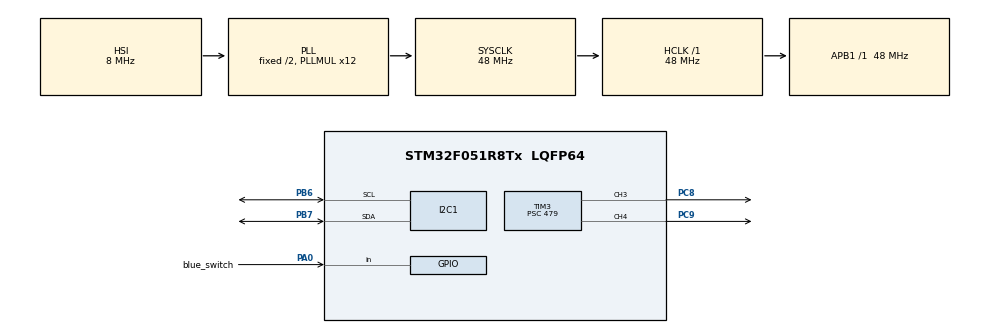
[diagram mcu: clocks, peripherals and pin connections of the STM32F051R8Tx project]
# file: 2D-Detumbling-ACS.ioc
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I2C1.Timing=0x00201D2B
Mcu.Family=STM32F0
Mcu.Name=STM32F051R8Tx
Mcu.Package=LQFP64
NVIC.TIM14_IRQn=true\:0\:0\:false\:false\:true\:true\:true\:true
PA0.GPIO_Label=blue_switch
PA0.GPIO_PuPd=GPIO_PULLUP
PA0.Signal=GPIO_Input
PA13.GPIO_Label=SWDIO
PA13.Mode=Serial_Wire
PA13.Signal=SYS_SWDIO
PA14.GPIO_Label=SWCLK
PA14.Mode=Serial_Wire
PA14.Signal=SYS_SWCLK
PB6.Mode=I2C
PB6.Signal=I2C1_SCL
PB7.Mode=I2C
PB7.Signal=I2C1_SDA
PC8.Signal=S_TIM3_CH3
PC9.Signal=S_TIM3_CH4
ProjectManager.HeapSize=0x200
ProjectManager.StackSize=0x400
ProjectManager.TargetToolchain=STM32CubeIDE
RCC.AHBFreq_Value=48000000
RCC.APB1Freq_Value=48000000
RCC.APB1TimFreq_Value=48000000
RCC.HCLKFreq_Value=48000000
RCC.PLLMUL=RCC_PLL_MUL12
RCC.SYSCLKFreq_VALUE=48000000
RCC.SYSCLKSource=RCC_SYSCLKSOURCE_PLLCLK
SH.S_TIM3_CH3.0=TIM3_CH3,PWM Generation3 CH3
SH.S_TIM3_CH4.0=TIM3_CH4,PWM Generation4 CH4
TIM14.Period=99
TIM14.Prescaler=47999
TIM3.Channel-PWM\ Generation3\ CH3=TIM_CHANNEL_3
TIM3.Channel-PWM\ Generation4\ CH4=TIM_CHANNEL_4
TIM3.Period=100
TIM3.Prescaler=479
TIM3.Pulse-PWM\ Generation3\ CH3=50
TIM3.Pulse-PWM\ Generation4\ CH4=50
VP_TIM14_VS_ClockSourceINT.Mode=Enable_Timer
board=STM32F0DISCOVERY

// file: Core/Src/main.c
/* USER CODE BEGIN Header */
/**
  ******************************************************************************
  * @file           : main.c
  * @brief          : 2D Detumbling ACS Main Program Body
  ******************************************************************************
  * @details
  *
  * This program implements a basic 2D detumbling attitude control system on an
  * STM32F0 microcontroller, designed for satellite applications. It utilises a
  * gyroscope (FXAS21002) and magnetometer (FXOS8700) to measure the angular
  * rate and magnetic field, calculates the required control torque (PWM bright-
  * ness level), and sets PWM outputs for the magnetic actuators.
  *
  * Main functionalities:
  *   - Blue switch start: Waits for user to press and release the blue pushbutton
  *     ("blue switch") before starting the control loop. LED animation
  *     indicates waiting status.
  *   - Sensor initialisation and health check: Verifies sensor connectivity,
  *     signaling errors or success via status LEDs.
  *   - Control loop: Triggered by a timer interrupt at fixed intervals (e.g., 10 Hz).
  *     Each cycle reads sensor data, computes torque, and updates PWM outputs.
  *   - Energy-saving sleep mode: If the angular rate remains below a threshold
  *     for a set period, the MCU enters sleep mode. It wakes up automatically if
  *     the angular rate rises above a defined value.
  *
  * Usage:
  *   1. Power on the system.
  *   2. Press and release the blue button to start the controller.
  *   3. The system will automatically run the detumbling control loop, enter sleep
  *      mode as needed, and wake on new motion.
  *
  ******************************************************************************
  * @attention
  *
  * Copyright (c) 2025 STMicroelectronics.
  * All rights reserved.
  *
  * This software is licensed under terms that can be found in the LICENSE file
  * in the root directory of this software component.
  * If no LICENSE file comes with this software, it is provided AS-IS.
  *
  ******************************************************************************
  */
/* USER CODE END Header */
#include "main.h"

/* USER CODE BEGIN Includes */

#include <math.h>  		// Include math functions (e.g. fabsf())

/* USER CODE END Includes */

/* USER CODE BEGIN PD */
// ============================= USER PDs =====================================

// Control law
#define CTRL_THRESHOLD			0.2f	// [°/s] Deadband to ignore gyro noise
#define GAIN_X					0.25f	// [-] Gain of momentum in x-direction
#define GAIN_Y					0.25f	// [-] Gain of momentum in y-direction

// Sleep functionality
#define SLEEP_THRESHOLD			1.0f	// [°/s] Threshold to enter sleep mode
#define WAKEUP_THRESHOLD		2.0f	// [°/s] Threshold to exit sleep mode
#define IDLE_CYCLES				50		// [-] at 10 Hz control cycle: 5 sec

// Pulse width modulation
#define PWM_NEUTRAL				50		// [%] Neutral brightness (50 %)
#define PWM_SLEEP				1		// [%] Sleep brightness   (1 %)
#define PWM_MAX					100		// [%] Maximum brightness (100 %)
#define	PWM_MIN					0		// [%] Minimum brightness (0 %)

// Soft fail limits
#define GYRO_SFAIL_LIM 			5		// [-] Soft count of fails limit for gyroscope
#define MAGNETOMETER_SFAIL_LIM  5		// [-] Soft count of fails limit for magnetometer

// ============================================================================
/* USER CODE END PD */

I2C_HandleTypeDef hi2c1;

TIM_HandleTypeDef PWM_TIMER;
TIM_HandleTypeDef htim14;

/* USER CODE BEGIN PV */

volatile 	uint8_t 	do_control = 0;		// Timer interrupt flag for control cycle

static 		uint8_t 	isSleeping = 0;		// Sleep flag
static 		uint16_t 	quietCounter = 0;	// If quietCounter value reaches IDLE_CYCLES value enter sleep mode

static float e_int = 0.0f; 					// PI integrator state shared between main() and compute_torque()

/* USER CODE END PV */

void SystemClock_Config(void);
static void MX_GPIO_Init(void);
static void MX_TIM3_Init(void);
static void MX_TIM14_Init(void);
static void MX_I2C1_Init(void);
/* USER CODE BEGIN PFP */

// Check function prototypes
uint8_t check_gyro(void);				// Check who_am_i register. If check (un-)successful, return true (false)
uint8_t check_magnetometer(void);		// Check who_am_i register. If check (un-)successful, return true (false)

// Initialisation
void init_gyro(void);				// Initialisation of control registers of the gyroscope (FXAS21002C)
void init_magnetometer(void);		// Initialisation of control registers of the magnetometer (FXOS8700CQ)

// Read sensor functions
void read_gyro(float* gyro_z);		// Outputs Z-axis sensor values of 3-axis digital angular rate gyroscope (FXAS21002C)
void read_magnetometer(float* mag_x, float* mag_z);		// Outputs X- and Z-axis sensor values of magnetometer (FXOS8700CQ)

// Calculation function
void compute_torque(float gyro_z, float mag_x, float mag_z, uint8_t* pwm_x, uint8_t* pwm_y);	// Computes PWM-value ("torque of magnetorquer") from sensor values

// Sleep function
void handle_sleep_logic(float gyro_z);			// Implements sleep logic with IDLE_CYCLES, SLEEP_THRESHOLD and WAKEUP_THRESHOLD

// PWM function
void set_pwm(uint8_t pwm_x, uint8_t pwm_y);		// Modulates brightness of green LED (pwm_x) and blue LED (pwm_y) with given value (0-100%)

// LED blink function
void blink_sos_pwm(TIM_HandleTypeDef* htim, uint32_t channel);		// Modulates brightness of given LED with "S-O-S"

// Timer-rate function
static inline void ctrl_timer_set_rate_hz(uint32_t hz);

// Toggle mode functions for sensors
static inline void gyro_active(uint8_t on);
static inline void magnetometer_active(uint8_t on);

// Runs one ACS control step
static void control_step(void);

// Soft Error Handler
void softError_Handler(void);

// Note:
// For further information on the functions' behaviour see the function declaration in /* USER CODE BEGIN 4 */

/* USER CODE END PFP */

/* USER CODE BEGIN 0 */
extern TIM_HandleTypeDef htim14;
extern TIM_HandleTypeDef PWM_TIMER;
/* USER CODE END 0 */

int main(void)
{

  /* MCU Configuration--------------------------------------------------------*/

  /* Reset of all peripherals, Initializes the Flash interface and the Systick. */
  HAL_Init();

  /* Configure the system clock */
  SystemClock_Config();

  /* Initialize all configured peripherals */
  MX_GPIO_Init();
  MX_TIM3_Init();
  MX_TIM14_Init();
  MX_I2C1_Init();
  /* USER CODE BEGIN 2 */

  // Start PWM on green and blue LED
  if (HAL_TIM_PWM_Start(&PWM_TIMER, PWM_BLUE_LED) != HAL_OK) {
      Error_Handler();                 // Hard fail: Magnetorquer (PWM) must run
  }
  if (HAL_TIM_PWM_Start(&PWM_TIMER, PWM_GREEN_LED) != HAL_OK) {
      Error_Handler();                 // Hard fail: Magnetorquer (PWM) must run
  }

  // Power-up delay to ensure sensors are powered up after long powerless phase
  HAL_Delay(2000);

  // Check, if who_am_i register of the sensors returns the correct value and blink accordingly
  if (check_gyro())
  {
    blink_sos_pwm(&PWM_TIMER, PWM_BLUE_LED); // Check successful
  }
  else
  {
    blink_sos_pwm(&PWM_TIMER, PWM_GREEN_LED); // Check failed
  }

  HAL_Delay(2000);  // Pause to make checks visually distinguishable

  if (check_magnetometer())
  {
    blink_sos_pwm(&PWM_TIMER, PWM_BLUE_LED); // Check successful
  }
  else
  {
    blink_sos_pwm(&PWM_TIMER, PWM_GREEN_LED); // Check failed
  }

  HAL_Delay(1000);  // Pause to make checks visually distinguishable

  // Sensor initialisations
  init_gyro();				// Initialisation of control registers of the gyroscope (FXAS21002C)
  init_magnetometer();		// Initialisation of control registers of the magnetometer (FXOS8700CQ)

  // Start control cycle

  // Wait for press of the blue switch (LOW)
  while (HAL_GPIO_ReadPin(blue_switch_GPIO_Port, blue_switch_Pin) == GPIO_PIN_RESET) {
      // Blue LED oscillates slowly while waiting on press
      static uint8_t val = 0;
      val = (val + 5) % 100;
      __HAL_TIM_SET_COMPARE(&PWM_TIMER, PWM_BLUE_LED, val);
      HAL_Delay(50);
  }

  // Wait 50 ms to compensate for possible (de-)bouncing
  HAL_Delay(50);

  // Wait for release of the blue switch (HIGH)
  while (HAL_GPIO_ReadPin(blue_switch_GPIO_Port, blue_switch_Pin) == GPIO_PIN_SET) {
	  // Blue LED blinks intensely while waiting on release
      __HAL_TIM_SET_COMPARE(&PWM_TIMER, PWM_BLUE_LED, PWM_MAX);
      HAL_Delay(50);
      __HAL_TIM_SET_COMPARE(&PWM_TIMER, PWM_BLUE_LED, PWM_MIN);
      HAL_Delay(50);
  }

  // Start control cycle timer interrupt
  ctrl_timer_set_rate_hz(10);   // 10 Hz control loop frequency when active

  /* USER CODE END 2 */

  /* Infinite loop */
  /* USER CODE BEGIN WHILE */
	while (1)
	{
		if (do_control)	// If the timer-interrupt-flag is set (true = 1), start the control cycle
		{
			do_control = 0;	// Reset flag
			control_step();               // All sensing, logic, and actuation in here
		}
		// Enter sleep mode
		HAL_PWR_EnterSLEEPMode(PWR_MAINREGULATOR_ON, PWR_SLEEPENTRY_WFI);

    /* USER CODE END WHILE */

  }
}

void SystemClock_Config(void)
{
  RCC_OscInitTypeDef RCC_OscInitStruct = {0};
  RCC_ClkInitTypeDef RCC_ClkInitStruct = {0};
  RCC_PeriphCLKInitTypeDef PeriphClkInit = {0};

  /** Initializes the RCC Oscillators according to the specified parameters
  * in the RCC_OscInitTypeDef structure.
  */
  RCC_OscInitStruct.OscillatorType = RCC_OSCILLATORTYPE_HSI;
  RCC_OscInitStruct.HSIState = RCC_HSI_ON;
  RCC_OscInitStruct.HSICalibrationValue = RCC_HSICALIBRATION_DEFAULT;
  RCC_OscInitStruct.PLL.PLLState = RCC_PLL_ON;
  RCC_OscInitStruct.PLL.PLLSource = RCC_PLLSOURCE_HSI;
  RCC_OscInitStruct.PLL.PLLMUL = RCC_PLL_MUL12;
  RCC_OscInitStruct.PLL.PREDIV = RCC_PREDIV_DIV1;
  if (HAL_RCC_OscConfig(&RCC_OscInitStruct) != HAL_OK)
  {
    Error_Handler();
  }

  /** Initializes the CPU, AHB and APB buses clocks
  */
  RCC_ClkInitStruct.ClockType = RCC_CLOCKTYPE_HCLK|RCC_CLOCKTYPE_SYSCLK
                              |RCC_CLOCKTYPE_PCLK1;
  RCC_ClkInitStruct.SYSCLKSource = RCC_SYSCLKSOURCE_PLLCLK;
  RCC_ClkInitStruct.AHBCLKDivider = RCC_SYSCLK_DIV1;
  RCC_ClkInitStruct.APB1CLKDivider = RCC_HCLK_DIV1;

  if (HAL_RCC_ClockConfig(&RCC_ClkInitStruct, FLASH_LATENCY_1) != HAL_OK)
  {
    Error_Handler();
  }
  PeriphClkInit.PeriphClockSelection = RCC_PERIPHCLK_I2C1;
  PeriphClkInit.I2c1ClockSelection = RCC_I2C1CLKSOURCE_HSI;
  if (HAL_RCCEx_PeriphCLKConfig(&PeriphClkInit) != HAL_OK)
  {
    Error_Handler();
  }
}

static void MX_I2C1_Init(void)
{

  hi2c1.Instance = I2C1;
  hi2c1.Init.Timing = 0x00201D2B;
  hi2c1.Init.OwnAddress1 = 0;
  hi2c1.Init.AddressingMode = I2C_ADDRESSINGMODE_7BIT;
  hi2c1.Init.DualAddressMode = I2C_DUALADDRESS_DISABLE;
  hi2c1.Init.OwnAddress2 = 0;
  hi2c1.Init.OwnAddress2Masks = I2C_OA2_NOMASK;
  hi2c1.Init.GeneralCallMode = I2C_GENERALCALL_DISABLE;
  hi2c1.Init.NoStretchMode = I2C_NOSTRETCH_DISABLE;
  if (HAL_I2C_Init(&hi2c1) != HAL_OK)
  {
    Error_Handler();
  }

  /** Configure Analogue filter
  */
  if (HAL_I2CEx_ConfigAnalogFilter(&hi2c1, I2C_ANALOGFILTER_ENABLE) != HAL_OK)
  {
    Error_Handler();
  }

  /** Configure Digital filter
  */
  if (HAL_I2CEx_ConfigDigitalFilter(&hi2c1, 0) != HAL_OK)
  {
    Error_Handler();
  }

}

static void MX_TIM3_Init(void)
{

  TIM_MasterConfigTypeDef sMasterConfig = {0};
  TIM_OC_InitTypeDef sConfigOC = {0};

  PWM_TIMER.Instance = TIM3;
  PWM_TIMER.Init.Prescaler = 479;
  PWM_TIMER.Init.CounterMode = TIM_COUNTERMODE_UP;
  PWM_TIMER.Init.Period = 100;
  PWM_TIMER.Init.ClockDivision = TIM_CLOCKDIVISION_DIV1;
  PWM_TIMER.Init.AutoReloadPreload = TIM_AUTORELOAD_PRELOAD_DISABLE;
  if (HAL_TIM_PWM_Init(&PWM_TIMER) != HAL_OK)
  {
    Error_Handler();
  }
  sMasterConfig.MasterOutputTrigger = TIM_TRGO_RESET;
  sMasterConfig.MasterSlaveMode = TIM_MASTERSLAVEMODE_DISABLE;
  if (HAL_TIMEx_MasterConfigSynchronization(&PWM_TIMER, &sMasterConfig) != HAL_OK)
  {
    Error_Handler();
  }
  sConfigOC.OCMode = TIM_OCMODE_PWM1;
  sConfigOC.Pulse = 50;
  sConfigOC.OCPolarity = TIM_OCPOLARITY_HIGH;
  sConfigOC.OCFastMode = TIM_OCFAST_DISABLE;
  if (HAL_TIM_PWM_ConfigChannel(&PWM_TIMER, &sConfigOC, PWM_BLUE_LED) != HAL_OK)
  {
    Error_Handler();
  }
  if (HAL_TIM_PWM_ConfigChannel(&PWM_TIMER, &sConfigOC, PWM_GREEN_LED) != HAL_OK)
  {
    Error_Handler();
  }
  HAL_TIM_MspPostInit(&PWM_TIMER);

}

static void MX_TIM14_Init(void)
{

  htim14.Instance = TIM14;
  htim14.Init.Prescaler = 47999;
  htim14.Init.CounterMode = TIM_COUNTERMODE_UP;
  htim14.Init.Period = 99;
  htim14.Init.ClockDivision = TIM_CLOCKDIVISION_DIV1;
  htim14.Init.AutoReloadPreload = TIM_AUTORELOAD_PRELOAD_DISABLE;
  if (HAL_TIM_Base_Init(&htim14) != HAL_OK)
  {
    Error_Handler();
  }

}

static void MX_GPIO_Init(void)
{
  GPIO_InitTypeDef GPIO_InitStruct = {0};

  /* GPIO Ports Clock Enable */
  __HAL_RCC_GPIOA_CLK_ENABLE();
  __HAL_RCC_GPIOC_CLK_ENABLE();
  __HAL_RCC_GPIOB_CLK_ENABLE();

  /*Configure GPIO pin : blue_switch_Pin */
  GPIO_InitStruct.Pin = blue_switch_Pin;
  GPIO_InitStruct.Mode = GPIO_MODE_INPUT;
  GPIO_InitStruct.Pull = GPIO_PULLDOWN;
  HAL_GPIO_Init(blue_switch_GPIO_Port, &GPIO_InitStruct);

  /* USER CODE BEGIN MX_GPIO_Init_2 */
  	  	  // GPIO_InitStruct.Pull = GPIO_PULLDOWN;
  /* USER CODE END MX_GPIO_Init_2 */
}

/* USER CODE BEGIN 4 */

// Blink "SOS" on a PWM channel in Morse code
void blink_sos_pwm(TIM_HandleTypeDef *htim, uint32_t channel) {
	// Blink "S"
	for (int i = 0; i < 3; i++) {
		__HAL_TIM_SET_COMPARE(htim, channel, PWM_MAX);
		HAL_Delay(150);
		__HAL_TIM_SET_COMPARE(htim, channel, PWM_MIN);
		HAL_Delay(150);
	}

	HAL_Delay(300);	// Pause between S and O

	// Blink "O"
	for (int i = 0; i < 3; i++) {
		__HAL_TIM_SET_COMPARE(htim, channel, PWM_MAX);
		HAL_Delay(450);
		__HAL_TIM_SET_COMPARE(htim, channel, PWM_MIN);
		HAL_Delay(150);
	}

	HAL_Delay(300);	// Pause between O and final S

	// Blink "S"
	for (int i = 0; i < 3; i++) {
		__HAL_TIM_SET_COMPARE(htim, channel, PWM_MAX);
		HAL_Delay(150);
		__HAL_TIM_SET_COMPARE(htim, channel, PWM_MIN);
		HAL_Delay(150);
	}

	// Set channel back to PWM_NEUTRAL
	__HAL_TIM_SET_COMPARE(htim, channel, PWM_NEUTRAL);
}

// Checks if the FXAS21002 gyroscope sensor is connected and responding correctly over I2C
// Returns 1 if the correct sensor is detected, 0 otherwise
uint8_t check_gyro(void) {
	uint8_t fxas_addr = 0x21 << 1;// I2C address for FXAS21002 (SA0 = HIGH), shifted left for HAL
	uint8_t reg_addr = 0x0C;			// WHO_AM_I register address
	uint8_t id = 0;					// Variable to store sensor ID

	// Read 1 byte from the WHO_AM_I register of the sensor
	if (HAL_I2C_Mem_Read(&hi2c1, fxas_addr, reg_addr, I2C_MEMADD_SIZE_8BIT, &id, 1, 100) != HAL_OK) {
		return 0;  // I2C read failed (no response or bus error)
	}

	// Check if the returned ID matches the expected value for FXAS21002 (0xD7)
	if (id == 0xD7) {
		return 1;  // Sensor is present and correct
	}

	return 0;  // Received a different ID; wrong device or communication error
}

// Checks if the FXOS8700 sensor is connected and responding correctly over I2C
// Returns 1 if the correct sensor is detected, 0 otherwise
uint8_t check_magnetometer(void) {
	uint8_t fxos_addr = 0x1F << 1; // I2C address of FXOS8700 (SA0 = 1), shifted left for HAL
	uint8_t reg_addr = 0x0D;      	// Address of the WHO_AM_I register
	uint8_t id = 0;					// Variable to store the sensor ID

	// Read 1 byte from the WHO_AM_I register of the sensor
	if (HAL_I2C_Mem_Read(&hi2c1, fxos_addr, reg_addr, I2C_MEMADD_SIZE_8BIT, &id, 1, 100) != HAL_OK) {
		return 0;  // I2C read failed (no response or bus error)
	}

	// Check if the received ID matches the expected value for FXOS8700 (0xC7)
	if (id == 0xC7) {
		return 1;  // Sensor is present and correct
	}

	return 0;  // Received a different ID; wrong device or communication error
}

// Initialises the FXAS21002 gyroscope sensor via I2C
// Configures sensor in standby mode, sets measurement range and activates the sensor
void init_gyro(void) {
	const uint8_t fxas_addr = 0x21 << 1; // I2C address of FXAS21002 (SA0 = HIGH)

	// Set gyroscope to standby mode with a data rate of 50 Hz (DR=100), ACTIVE=0.
	// Value 0x10 = 0b00010000 written to CTRL_REG1 (0x13)
	uint8_t ctrl_reg1_standby = 0x10;
	HAL_I2C_Mem_Write(&hi2c1, fxas_addr, 0x13, I2C_MEMADD_SIZE_8BIT, &ctrl_reg1_standby, 1, 100);
	HAL_Delay(10); // Delay for register update

	// Set measurement range to +-250 dps and enable BW=01 for ~8 Hz LPF at 50 Hz ODR
	// Value 0x43 = 0b00000011 written to CTRL_REG0 (0x0D), FS1 = 1, FS0 = 1
	uint8_t ctrl_reg0 = 0x43;
	HAL_I2C_Mem_Write(&hi2c1, fxas_addr, 0x0D, I2C_MEMADD_SIZE_8BIT, &ctrl_reg0, 1, 100);
	HAL_Delay(10);

	// Activate the sensor by setting ACTIVE=1 with the same data rate (DR=100)
	// Value 0x12 = 0b00010010 written to CTRL_REG1 (0x13)
	uint8_t ctrl_reg1_active = 0x12;
	HAL_I2C_Mem_Write(&hi2c1, fxas_addr, 0x13, I2C_MEMADD_SIZE_8BIT, &ctrl_reg1_active, 1, 100);
	HAL_Delay(80);
}

// Initialises the FXOS8700 sensor via I2C
// Configures sensor in standby, enables MAG-only mode with high OSR, and activates at 12.5 Hz (low-noise).
void init_magnetometer(void) {
	uint8_t fxos_addr = 0x1F << 1;  // I2C address of FXOS8700 (SA0 = HIGH)

	// Set standby mode (CTRL_REG1 = 0x00)
	// Value 0x00 = 0b00000000 disables all activity.
	uint8_t standby = 0x00;
	HAL_I2C_Mem_Write(&hi2c1, fxos_addr, 0x2A, I2C_MEMADD_SIZE_8BIT, &standby, 1, 100);
	HAL_Delay(10); // Conservative delay to allow settings to take effect

	// Configure magnetometer: M_CTRL_REG1 = 0x1D
	// Value 0x1D = 0b00011101, HMS=01 (MAG-only mode), OSR=111 (8x oversampling) for lower noise.
	uint8_t mctrl1 = 0x1D;
	HAL_I2C_Mem_Write(&hi2c1, fxos_addr, 0x5B, I2C_MEMADD_SIZE_8BIT, &mctrl1, 1, 100);
	HAL_Delay(10);

	// Set to active mode: CTRL_REG1 = 0x2D
	// Value 0x2D = 0b00101101, DR=101 (12.5 Hz in MAG-only), LNOISE=1 (low noise), ACTIVE=1.
	uint8_t active = 0x2D;
	HAL_I2C_Mem_Write(&hi2c1, fxos_addr, 0x2A, I2C_MEMADD_SIZE_8BIT, &active, 1, 100);
	HAL_Delay(80);
}

// Reads the Z-axis angular rate from the FXAS21002 gyroscope via I2C
// Stores the angular rate in degrees per second in the variable pointed to by gyro_z
// Returns 0.0f if there is a communication error or if no new data is available
void read_gyro(float *gyro_z) // FXAS21002C
{
	const uint8_t fxas_addr = 0x21 << 1;	// I2C address of FXAS21002 (SA0 = HIGH)
	const uint8_t reg_status = 0x00;		// Address of the STATUS register
	const uint8_t reg_gyro_x_msb = 0x01; 	// Address of the first gyro data register (X_MSB)

	uint8_t status = 0;			// Variable to store the STATUS register value
	uint8_t data[6] = { 0 }; 	// Buffer for 6 bytes: X_MSB, X_LSB, Y_MSB, Y_LSB, Z_MSB, Z_LSB

	// Failure counter
	static uint8_t fail_cnt = 0;

	// Read the STATUS register to check if new data is available
	if (HAL_I2C_Mem_Read(&hi2c1, fxas_addr, reg_status, I2C_MEMADD_SIZE_8BIT, &status, 1, 100) != HAL_OK) {
		*gyro_z = 0.0f;		// I2C read failed
		if (++fail_cnt >= GYRO_SFAIL_LIM) {softError_Handler(); fail_cnt = 0; }
		return;
	}

	// Check if new data for all axes is available (ZYXDR bit, bit 3 must be set)
	if ((status & 0x08) == 0) {
		*gyro_z = 0.0f;		// No new data available
		return;
	}

	// Read 6 bytes of gyro data (X_MSB, X_LSB, Y_MSB, Y_LSB, Z_MSB, Z_LSB)
	if (HAL_I2C_Mem_Read(&hi2c1, fxas_addr, reg_gyro_x_msb, I2C_MEMADD_SIZE_8BIT, data, 6, 100) != HAL_OK) {
		*gyro_z = 0.0f;		// I2C read failed
		if (++fail_cnt >= GYRO_SFAIL_LIM) {softError_Handler(); fail_cnt = 0; }
		return;
	}

	// Combine Z_MSB and Z_LSB to get the raw Z-axis value (16-bit signed integer)
	int16_t raw_z = (int16_t) ((data[4] << 8) | data[5]);

	// Convert the raw value to degrees per second (7.8125 mdps/LSB = 0.0078125 dps/LSB)
	*gyro_z = raw_z * 0.0078125f;

	// If all operations were successful, reset failure counter
	fail_cnt = 0;
}

// Reads the X and Z components of the magnetic field from the FXOS8700 sensor via I2C
// Stores the values in mag_x and mag_z and converts them into physical units before
// Sets both values to 0 if no new data is available or if a communication error occurs
void read_magnetometer(float *mag_x, float *mag_z) // fxos8700
{
	const uint8_t fxos_addr = 0x1F << 1;// I2C address of FXOS8700 (SA0 = HIGH)
	const uint8_t reg_status = 0x32;		// Address of the STATUS register
	const uint8_t reg_mag_x_msb = 0x33;	// Address of the first magnetometer data register (X_MSB)

	uint8_t status = 0;			// Variable to store the STATUS register value
	uint8_t data[6] = { 0 }; // Buffer for 6 bytes: X_MSB, X_LSB, Y_MSB, Y_LSB, Z_MSB, Z_LSB

	// Failure counter
	static uint8_t fail_cnt = 0;

	// Read the STATUS register to check if new data is available
	if (HAL_I2C_Mem_Read(&hi2c1, fxos_addr, reg_status, I2C_MEMADD_SIZE_8BIT, &status, 1, 100) != HAL_OK) {
		*mag_x = 0;
		*mag_z = 0;
		if (++fail_cnt >= MAGNETOMETER_SFAIL_LIM) {softError_Handler(); fail_cnt = 0; }
		return;		// I2C read failed
	}

	// Check if new magnetometer data for all axes is available (ZYXDR bit, bit 3 must be set)
	if ((status & 0x08) == 0) {
		*mag_x = 0;
		*mag_z = 0;
		return;		// No new data available
	}

	// Read 6 bytes of magnetometer data (X_MSB, X_LSB, Y_MSB, Y_LSB, Z_MSB, Z_LSB)
	if (HAL_I2C_Mem_Read(&hi2c1, fxos_addr, reg_mag_x_msb, I2C_MEMADD_SIZE_8BIT, data, 6, 100) != HAL_OK) {
		*mag_x = 0;
		*mag_z = 0;
		if (++fail_cnt >= MAGNETOMETER_SFAIL_LIM) {softError_Handler(); fail_cnt = 0; }
		return;		// I2C read failed
	}

	// Combine MSB/LSB to raw data
	int16_t raw_x = (int16_t) ((data[0] << 8) | data[1]);
	int16_t raw_z = (int16_t) ((data[4] << 8) | data[5]);

	*mag_x = raw_x * 0.1f;	// [muT/LSB]
	*mag_z = raw_z * 0.1f;

	// If all operations were successful, reset failure counter
	fail_cnt = 0;
}

// Computes PWM commands for 2D detumbling using a PI controller.
// Input:  gyro_z [deg/s], magnetic field values mag_x, mag_z.
// Output: pwm_x, pwm_y in [0,100] with neutral at PWM_NEUTRAL.
void compute_torque(float gyro_z, float mag_x, float mag_z, uint8_t *pwm_x,
		uint8_t *pwm_y) {

	// Controller parameters
	const float Ts = 0.1f;               // [s] control loop sample time (10 Hz)
	const float Kp = 0.05f;              // proportional gain
	const float Ti = 8.0f;               // [s] integral time constant (tunable)
	const float Ki = Kp / Ti;    		 // integral gain

	// If below noise threshold, command neutral PWM (no actuation)
	if (fabsf(gyro_z) < CTRL_THRESHOLD) {
		*pwm_x = PWM_NEUTRAL;
		*pwm_y = PWM_NEUTRAL;
		return;
	}

	// PI control on z-rate (target omega_z = 0): e = -gyro_z
	const float e = -gyro_z;

	// Integrator with simple clamping (anti-windup)
	e_int += e * Ts;
	if (e_int > 500.0f)
		e_int = 500.0f;
	if (e_int < -500.0f)
		e_int = -500.0f;

	// Control effort
	const float u = Kp * e + Ki * e_int;

	// Magnetic control: m = -u * (w × B)
	// For w=[0, 0, w_z], B=[B_x,0,B_z] -> w x B=[-w_z * B_z, w_z * B_x, 0]^T
	const float m_x = -u * mag_z; // commanded moment along x-axis
	const float m_y = u * mag_x; // commanded moment along y-axis

	// Map commanded moment to PWM duty cycle (0–100, neutral at 50)
	int p_x = (int) (50.0f + m_x * GAIN_X);
	int p_y = (int) (50.0f + m_y * GAIN_Y);

	// Clamp to valid PWM range
	if (p_x < PWM_MIN)
		p_x = PWM_MIN;
	else if (p_x > PWM_MAX)
		p_x = PWM_MAX;
	if (p_y < PWM_MIN)
		p_y = PWM_MIN;
	else if (p_y > PWM_MAX)
		p_y = PWM_MAX;

	// Outputs
	*pwm_x = (uint8_t) p_x;
	*pwm_y = (uint8_t) p_y;
}

// Sets the PWM output values for the X and Y channels (green LED (PC9) and blue LED (PC8))
void set_pwm(uint8_t pwm_x, uint8_t pwm_y) {
	// Set the PWM value for the X axis (connected to PC9, TIM3 Channel 4)
	__HAL_TIM_SET_COMPARE(&PWM_TIMER, PWM_GREEN_LED, pwm_x);

	// Set the PWM value for the Y axis (connected to PC8, TIM3 Channel 3)
	__HAL_TIM_SET_COMPARE(&PWM_TIMER, PWM_BLUE_LED, pwm_y);
}

// Handles the sleep and wake-up logic based on the current rotational rate (gyro_z)
// If the absolute gyro_z stays below SLEEP_THRESHOLD for IDLE_CYCLES, the system enters sleep mode (isSleeping = 1)
// If, during sleep, gyro_z exceeds WAKEUP_THRESHOLD, the system wakes up
void handle_sleep_logic(float gyro_z) {
	if (!isSleeping) {
		// If not sleeping, check if rotational rate is below the threshold
		if (fabsf(gyro_z) < SLEEP_THRESHOLD) {
			quietCounter++;
			// If below SLEEP_THRESHOLD long enough (IDLE_CYCLES), enter sleep mode
			if (quietCounter >= IDLE_CYCLES) {
				isSleeping = 1;
			}
		} else {
			// If movement above SLEEP_THRESHOLD detected, reset counter
			quietCounter = 0;
		}
	} else {
		// If currently sleeping, check for movement above WAKEUP_THRESHOLD to wake up
		if (fabsf(gyro_z) > WAKEUP_THRESHOLD) {
			isSleeping = 0;
			quietCounter = 0;
		}
	}
}

// Change timer rate function
static inline void ctrl_timer_set_rate_hz(uint32_t hz) {

	__HAL_TIM_DISABLE(&htim14);
	htim14.Init.Prescaler = 47999;
	htim14.Init.Period = (1000 / hz) - 1;

	if (HAL_TIM_Base_Init(&htim14) != HAL_OK) {
	        Error_Handler();             // Hard fail: Initialisation of control loop timer failed
	    }

	    __HAL_TIM_ENABLE_IT(&htim14, TIM_IT_UPDATE);

	    if (HAL_TIM_Base_Start_IT(&htim14) != HAL_OK) {
	        Error_Handler();             // Hard fail: Start of control loop timer failed
	    }
}

// Change gyro state function: Toggle between active and ready
static inline void gyro_active(uint8_t on) {
	uint8_t state = on ? 0x12 : 0x10; // DR=100 (50 Hz), ACTIVE=1/0 (as in init_gyro)
	HAL_I2C_Mem_Write(&hi2c1, 0x21 << 1, 0x13, I2C_MEMADD_SIZE_8BIT, &state, 1, 50);
	HAL_Delay(80);
}

// Change magnetometer state function: Toggle between active and ready
static inline void magnetometer_active(uint8_t on) {
	uint8_t state = on ? 0x2D : 0x00; // CTRL_REG1 ACTIVE=1/0, DR=101 (12.5 Hz), LNOISE=1 (as in init_magnetometer)
	HAL_I2C_Mem_Write(&hi2c1, 0x1F << 1, 0x2A, I2C_MEMADD_SIZE_8BIT, &state, 1, 50);
	HAL_Delay(100);
}

// Runs ACS control step (10 Hz active / 1 Hz sleep)
// Reads sensors, updates sleep state, computes and applies PWM depending on state
static void control_step(void) {

	// Initialise local variables for current sensor readings and PWM outputs
	float gyro_z = 0.0f;
	float mag_x = 0, mag_z = 0;
	uint8_t pwm_x = 0, pwm_y = 0;

	if (isSleeping) {
		// Activate sensors and read data when sleeping to check verify wake/sleep condition
		gyro_active(1);
		magnetometer_active(1);
	}

	// Read values from gyroscope (FXAS21002C) and magnetometer (FXOS8700CQ)
	read_gyro(&gyro_z);
	read_magnetometer(&mag_x, &mag_z);

	// Evaluate sleep logic (set isSleeping-flag if necessary conditions are met)
	handle_sleep_logic(gyro_z);

	// Handle state transition
	static uint8_t prevSleeping = 0;
	if (isSleeping != prevSleeping) {
		prevSleeping = isSleeping;
		if (isSleeping) {
			gyro_active(0);          // Change sensor state to ready
			magnetometer_active(0);
			ctrl_timer_set_rate_hz(1);   // 1 Hz while sleeping
		} else {
			gyro_active(1);          // Change sensor state to active
			magnetometer_active(1);
			ctrl_timer_set_rate_hz(10); // Change timer rate to 10 Hz (active control rate)

			e_int = 0.0f; // Reset PI integrator on wake to avoid bias after long sleep
		}
	}

	// Actuation of Magnetorquers (PWM of LEDs)
	if (!isSleeping) {
		// If not sleeping, calculate and set new PWM values for detumbling control
		compute_torque(gyro_z, mag_x, mag_z, &pwm_x, &pwm_y);
		set_pwm(pwm_x, pwm_y);
	} else {
		// If sleeping, set PWM to PWM_SLEEP
		set_pwm(PWM_SLEEP, PWM_SLEEP);
	}

}

// Soft error handler
void softError_Handler(void)
{
    // Potential non-fatal mitigation can be added here
}

// Timer interrupt callback function for STM32 HAL
// This function is called automatically whenever the timer (here TIM14) elapses
void HAL_TIM_PeriodElapsedCallback(TIM_HandleTypeDef *htim) {
	// Check if the interrupt comes from TIM14 (the control loop timer)
	if (htim->Instance == TIM14)
		do_control = 1;	// Set flag to indicate that a control cycle should be performed in the main loop
}

/* USER CODE END 4 */

void Error_Handler(void)
{
  __disable_irq();
  while (1)
  {
  }
}
